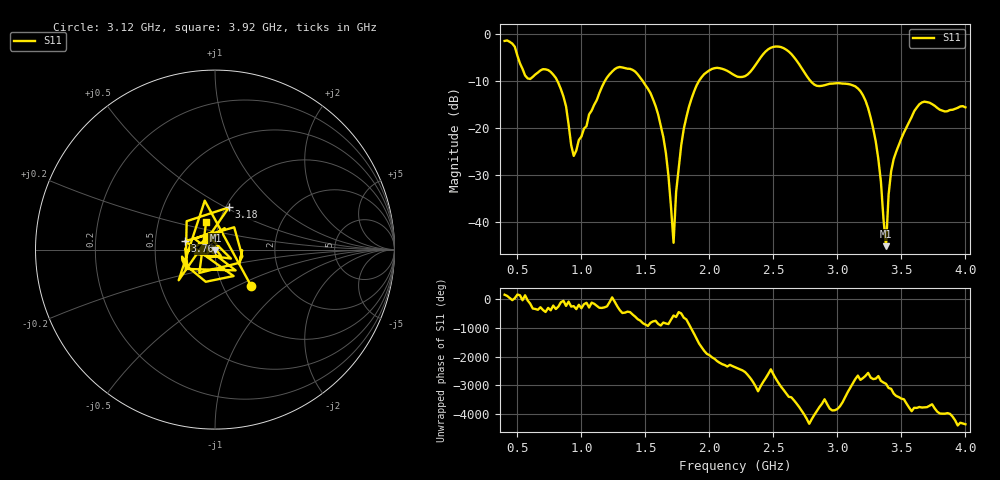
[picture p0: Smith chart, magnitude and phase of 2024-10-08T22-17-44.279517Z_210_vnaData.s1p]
! Created with skrf (http://scikit-rf.org).
# Hz S RI R 50.0
!freq ReS11 ImS11
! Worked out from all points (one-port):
!   181 points, 400 MHz to 4 GHz, reference 50 ohm
!   lowest |S11| = -45.2 dB at 3.38 GHz (marker M1), VSWR 1.01, Z = 50.2 - j0.498 ohm
!   |S11| at or under -10 dB: 813.1 MHz to 1.183 GHz (369.4 MHz wide, 37 % of centre); 1.48 GHz to 1.918 GHz (437.1 MHz wide, 25.7 % of centre); 2.792 GHz to end of sweep
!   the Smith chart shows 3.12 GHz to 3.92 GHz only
!   S11 on the Smith chart (normalised r, x): 3.12 GHz: 1.35, -0.60; 3.18 GHz: 1.04, +0.52; 3.76 GHz: 0.71, +0.07; 3.92 GHz: 0.87, +0.27
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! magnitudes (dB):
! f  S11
! 400 MHz  -1.4
! 580 MHz  -9.4
! 740 MHz  -7.6
! 860 MHz  -13.3
! 940 MHz  -25.9
! 1.18 GHz  -10.1
! 1.3 GHz  -7.0
! 1.58 GHz  -15.3
! 1.66 GHz  -25.3
! 1.72 GHz  -44.5
! 1.76 GHz  -28.7
! 1.82 GHz  -17.7
! 1.92 GHz  -9.9
! 2.2 GHz  -8.8
! 2.5 GHz  -2.7
! 2.66 GHz  -4.8
! 2.82 GHz  -10.7
! 3.1 GHz  -10.7
! 3.12 GHz  -10.9
! 3.18 GHz  -12.1
! 3.3 GHz  -22.9
! 3.38 GHz  -45.2
! 3.4 GHz  -34.2
! 3.42 GHz  -29.2
! 3.56 GHz  -18.7
! 3.76 GHz  -15.2
! 3.92 GHz  -15.9
! 4 GHz  -15.6
